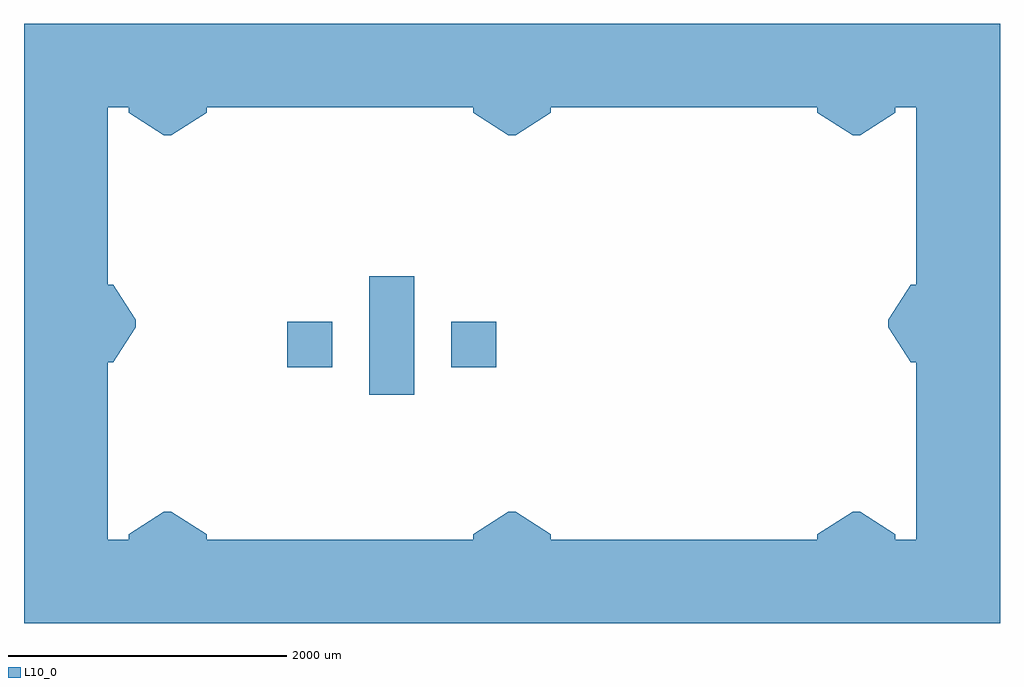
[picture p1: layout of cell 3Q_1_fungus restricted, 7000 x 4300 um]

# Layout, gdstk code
import gdstk
lib = gdstk.Library(unit=1e-6, precision=1e-09)
def R(c, l, rs):  # rectangles x0, y0, x1, y1
    for r in rs: c.add(gdstk.rectangle(r[:2], r[2:], *l))
def P(c, l, *ps):  # polygons
    for p in ps: c.add(gdstk.Polygon(p, *l))
L10_0 = (10, 0)

c_3q_1_fungus_restricted = lib.new_cell('3Q_1_fungus restricted')
R(c_3q_1_fungus_restricted, L10_0, [(2475,1640,2800,2490), (2475,1640,2800,2490), (1887.5,1837.5,2212.5,2162.5), (1887.5,1837.5,2212.5,2162.5), (3062.5,1837.5,3387.5,2162.5), (3062.5,1837.5,3387.5,2162.5)])
P(c_3q_1_fungus_restricted, L10_0, [(7000,0),(7000,4300),(0,4300),(0,1871),(132,1871),(132,2429),(600,2429),(600,3700),(751,3700),(751,4168),(1309,4168),(1309,3700),(3221,3700),(3221,4168),(3779,4168),(3779,3700),(5691,3700),(5691,4168),(6249,4168),(6249,3700),(6400,3700),(6400,2429),(6868,2429),(6868,1871),(6400,1871),(6400,600),(6249,600),(6249,132),(5691,132),(5691,600),(3779,600),(3779,132),(3221,132),(3221,600),(1309,600),(1309,132),(751,132),(751,600),(600,600),(600,1871),(132,1871),(0,1871),(0,0)],
  [(800,2123),(800,2177),(640,2429),(132,2429),(132,1871),(640,1871)],
  [(6200,2177),(6200,2123),(6360,1871),(6868,1871),(6868,2429),(6360,2429)],
  [(1057,800),(1003,800),(751,640),(751,132),(1309,132),(1309,640)],
  [(1003,3500),(1057,3500),(1309,3660),(1309,4168),(751,4168),(751,3660)],
  [(3527,800),(3473,800),(3221,640),(3221,132),(3779,132),(3779,640)],
  [(3473,3500),(3527,3500),(3779,3660),(3779,4168),(3221,4168),(3221,3660)],
  [(5997,800),(5943,800),(5691,640),(5691,132),(6249,132),(6249,640)],
  [(5943,3500),(5997,3500),(6249,3660),(6249,4168),(5691,4168),(5691,3660)],
  [(7000,0),(7000,4300),(0,4300),(0,1871),(132,1871),(132,2429),(600,2429),(600,3700),(751,3700),(751,4168),(1309,4168),(1309,3700),(3221,3700),(3221,4168),(3779,4168),(3779,3700),(5691,3700),(5691,4168),(6249,4168),(6249,3700),(6400,3700),(6400,2429),(6868,2429),(6868,1871),(6400,1871),(6400,600),(6249,600),(6249,132),(5691,132),(5691,600),(3779,600),(3779,132),(3221,132),(3221,600),(1309,600),(1309,132),(751,132),(751,600),(600,600),(600,1871),(132,1871),(0,1871),(0,0)],
  [(800,2123),(800,2177),(640,2429),(132,2429),(132,1871),(640,1871)],
  [(6200,2177),(6200,2123),(6360,1871),(6868,1871),(6868,2429),(6360,2429)],
  [(1057,800),(1003,800),(751,640),(751,132),(1309,132),(1309,640)],
  [(1003,3500),(1057,3500),(1309,3660),(1309,4168),(751,4168),(751,3660)],
  [(3527,800),(3473,800),(3221,640),(3221,132),(3779,132),(3779,640)],
  [(3473,3500),(3527,3500),(3779,3660),(3779,4168),(3221,4168),(3221,3660)],
  [(5997,800),(5943,800),(5691,640),(5691,132),(6249,132),(6249,640)],
  [(5943,3500),(5997,3500),(6249,3660),(6249,4168),(5691,4168),(5691,3660)])

lib.write_gds('3Q_1_fungus_restricted.gds')
